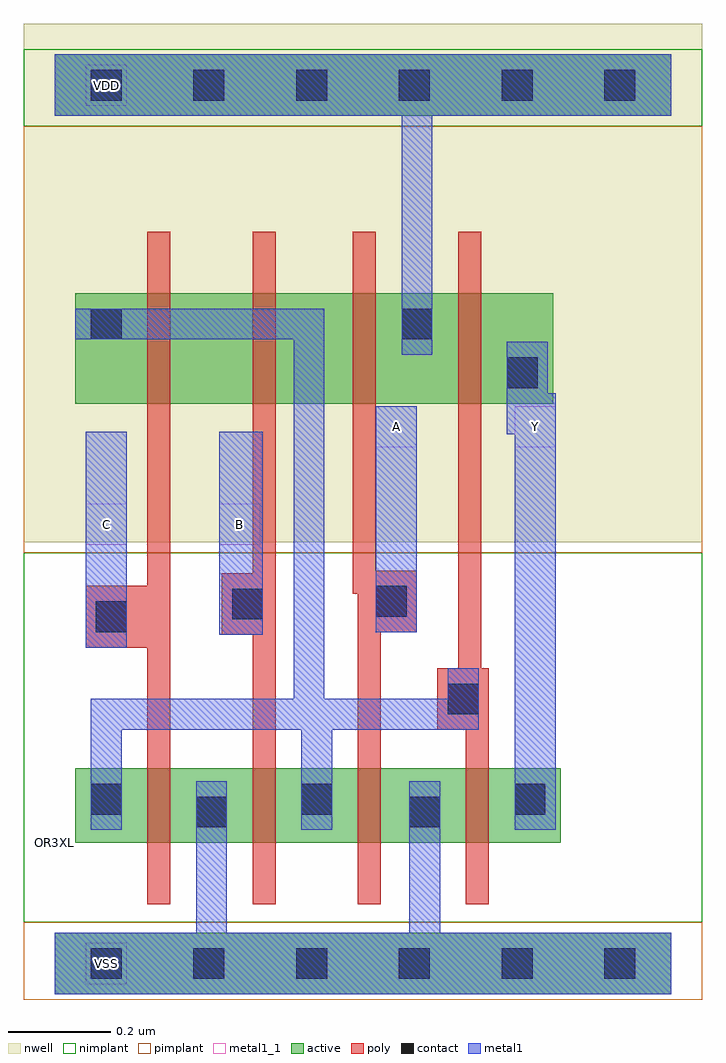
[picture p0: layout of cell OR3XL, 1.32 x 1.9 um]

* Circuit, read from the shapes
.subckt OR3XL A B C VDD VSS Y
M1 VSS C n1 VSS nfet w=0.145u l=0.045u
M2 n1 B VSS VSS nfet w=0.145u l=0.045u
M3 VSS A n1 VSS nfet w=0.145u l=0.045u
M4 Y n1 VSS VSS nfet w=0.145u l=0.045u
M5 n2 C n1 VDD pfet w=0.215u l=0.045u
M6 n3 B n2 VDD pfet w=0.215u l=0.045u
M7 VDD A n3 VDD pfet w=0.215u l=0.045u
M8 Y n1 VDD VDD pfet w=0.215u l=0.045u
.ends

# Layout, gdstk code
import gdstk
lib = gdstk.Library(unit=1e-6, precision=5e-10)
def R(c, l, rs):  # rectangles x0, y0, x1, y1
    for r in rs: c.add(gdstk.rectangle(r[:2], r[2:], *l))
def A(c, l, x, y, w, h, nx, ny, dx, dy):  # array of equal rectangles
    R(c, l, [(x+i*dx, y+j*dy, x+i*dx+w, y+j*dy+h) for i in range(nx) for j in range(ny)])
def P(c, l, *ps):  # polygons
    for p in ps: c.add(gdstk.Polygon(p, *l))
active = (1, 0)
nwell = (2, 0)
poly = (3, 0)
nimplant = (4, 0)
pimplant = (5, 0)
contact = (6, 0)
metal1 = (7, 0)
metal1_1 = (7, 1)

or3xl = lib.new_cell('OR3XL')
R(or3xl, active, [(0,-0.06,1.2,0.06), (0.04,0.235,0.985,0.38), (0.04,1.09,0.97,1.305), (0,1.65,1.2,1.77)])
R(or3xl, nwell, [(-0.06,0.82,1.26,1.83)])
R(or3xl, poly, [(0.745,0.455,0.835,0.575)])
P(or3xl, poly, [(0.18,1.425),(0.225,1.425),(0.225,0.115),(0.18,0.115),(0.18,0.615),(0.06,0.615),(0.06,0.735),(0.18,0.735)],
  [(0.385,1.425),(0.43,1.425),(0.43,0.115),(0.385,0.115),(0.385,0.64),(0.325,0.64),(0.325,0.76),(0.385,0.76)],
  [(0.58,1.425),(0.625,1.425),(0.625,0.765),(0.705,0.765),(0.705,0.645),(0.635,0.645),(0.635,0.115),(0.59,0.115),(0.59,0.72),(0.58,0.72)],
  [(0.845,0.575),(0.83,0.575),(0.83,1.425),(0.785,1.425),(0.785,0.455),(0.8,0.455),(0.8,0.115),(0.845,0.115)])
R(or3xl, nimplant, [(-0.06,0.08,1.26,0.8), (-0.06,1.63,1.26,1.78)])
R(or3xl, pimplant, [(-0.06,-0.07,1.26,0.08), (-0.06,0.8,1.26,1.63)])
A(or3xl, contact, 0.07, -0.03, 0.06, 0.06, 6, 2, 0.2, 1.71)
R(or3xl, contact, [(0.275,0.265,0.335,0.325), (0.69,0.265,0.75,0.325), (0.07,0.29,0.13,0.35), (0.48,0.29,0.54,0.35), (0.895,0.29,0.955,0.35), (0.765,0.485,0.825,0.545), (0.08,0.645,0.14,0.705), (0.345,0.67,0.405,0.73), (0.625,0.675,0.685,0.735), (0.88,1.12,0.94,1.18), (0.07,1.215,0.13,1.275), (0.675,1.215,0.735,1.275)])
R(or3xl, metal1, [(0.06,0.615,0.14,1.035), (0.32,0.64,0.405,1.035), (0.625,0.645,0.705,1.085)])
P(or3xl, metal1, [(0.275,0.355),(0.335,0.355),(0.335,0.06),(0.69,0.06),(0.69,0.355),(0.75,0.355),(0.75,0.06),(1.2,0.06),(1.2,-0.06),(0,-0.06),(0,0.06),(0.275,0.06)],
  [(0,1.77),(1.2,1.77),(1.2,1.65),(0.735,1.65),(0.735,1.185),(0.675,1.185),(0.675,1.65),(0,1.65)],
  [(0.04,1.275),(0.525,1.275),(0.525,0.515),(0.765,0.515),(0.765,0.575),(0.825,0.575),(0.825,0.455),(0.54,0.455),(0.54,0.26),(0.48,0.26),(0.48,0.455),(0.13,0.455),(0.13,0.26),(0.07,0.26),(0.07,0.515),(0.465,0.515),(0.465,1.215),(0.04,1.215)],
  [(0.88,1.21),(0.96,1.21),(0.96,1.11),(0.975,1.11),(0.975,0.26),(0.895,0.26),(0.895,1.03),(0.88,1.03)])
A(or3xl, metal1_1, 0.06, -0.04, 0.08, 0.08, 1, 3, 0, 0.855)
R(or3xl, metal1_1, [(0.32,0.815,0.4,0.895), (0.625,1.005,0.705,1.085), (0.895,1.005,0.975,1.085)])
or3xl.add(gdstk.Label('VSS', (0.1,0), layer=7, texttype=1))
or3xl.add(gdstk.Label('Y', (0.935,1.045), layer=7, texttype=1))
or3xl.add(gdstk.Label('A', (0.665,1.045), layer=7, texttype=1))
or3xl.add(gdstk.Label('B', (0.36,0.855), layer=7, texttype=1))
or3xl.add(gdstk.Label('C', (0.1,0.855), layer=7, texttype=1))
or3xl.add(gdstk.Label('VDD', (0.1,1.71), layer=7, texttype=1))
or3xl.add(gdstk.Label('OR3XL', (0,0.235), layer=63, texttype=0))

lib.write_gds('OR3XL.gds')
